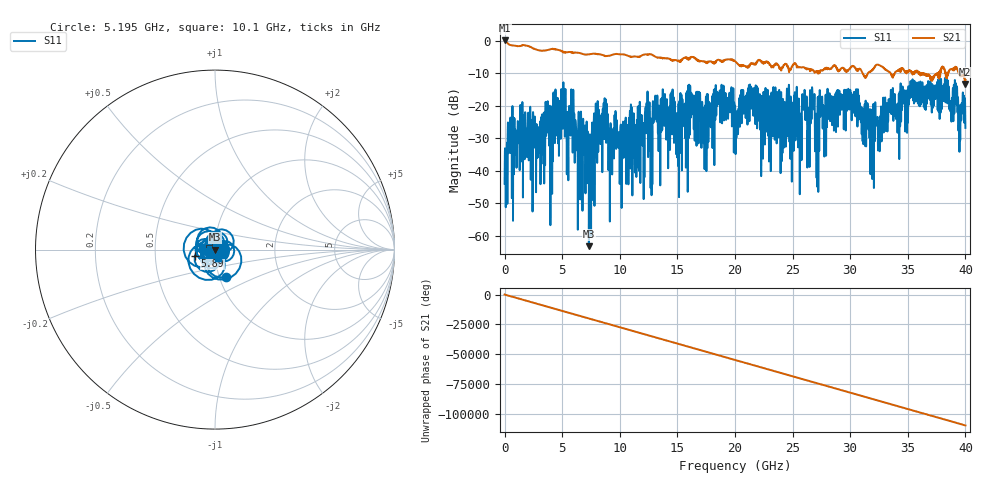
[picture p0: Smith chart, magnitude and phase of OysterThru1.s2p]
# MHz MA S R 50.0
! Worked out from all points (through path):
!   8000 points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, 5 MHz to 40 GHz, reference 50 ohm
!   highest |S21| = 0.03 dB at 5 MHz (marker M1); lowest = -13.3 dB at 39.98 GHz (marker M2)
!   group delay of S21, straight-line fit = 7.59 ns
!   lowest |S11| = -63.2 dB at 7.32 GHz (marker M3), VSWR 1.00, Z = 50.1 + j0.0307 ohm
!   |S11| at or under -10 dB: start of sweep to end of sweep
!   S12 and S22 are empty: the file has one direction only
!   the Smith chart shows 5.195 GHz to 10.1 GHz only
!   S11 on the Smith chart (normalised r, x): 5.195 GHz: 1.07, -0.33; 5.89 GHz: 0.80, -0.06; 10.1 GHz: 1.03, -0.10
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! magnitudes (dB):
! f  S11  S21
! 5 MHz  -44.0  0.0
! 510 MHz  -23.9  -1.4
! 2.93 GHz  -26.6  -3.0
! 5.195 GHz  -15.7  -3.6
! 5.89 GHz  -18.5  -3.7
! 6.675 GHz  -27.7  -4.0
! 7.32 GHz  -63.2  -4.2
! 8.7 GHz  -18.4  -4.8
! 9.185 GHz  -26.4  -4.6
! 10.1 GHz  -25.8  -4.2
! 13.34 GHz  -23.4  -5.2
! 18.5 GHz  -16.3  -5.9
! 20 GHz  -20.2  -6.4
! 21.39 GHz  -14.2  -7.1
! 26.67 GHz  -16.1  -9.2
! 27.12 GHz  -27.1  -9.5
! 29.84 GHz  -14.9  -9.2
! 31.87 GHz  -21.3  -9.3
! 33.34 GHz  -18.2  -9.6
! 38.31 GHz  -11.3  -11.4
! 39.98 GHz  -22.1  -13.3
! 40 GHz  -26.8  -12.0
